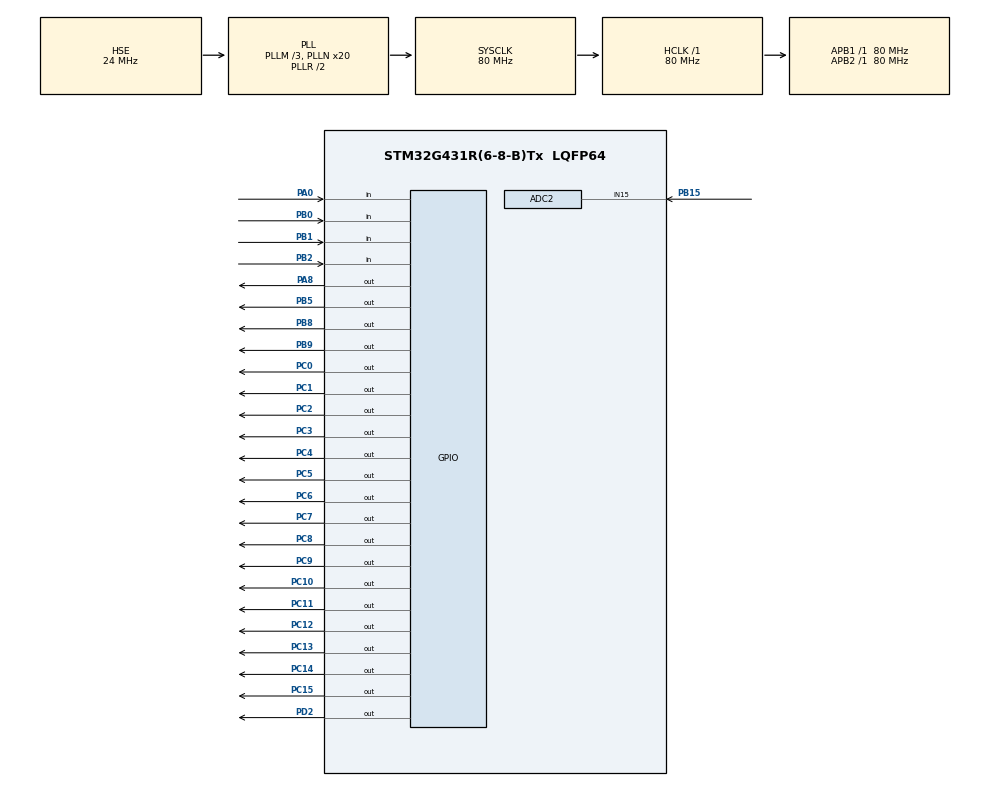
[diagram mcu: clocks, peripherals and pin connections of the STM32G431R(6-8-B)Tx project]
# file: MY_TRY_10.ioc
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ADC2.Channel-0\#ChannelRegularConversion=ADC_CHANNEL_15
ADC2.NbrOfConversionFlag=1
ADC2.OffsetNumber-0\#ChannelRegularConversion=ADC_OFFSET_NONE
ADC2.Rank-0\#ChannelRegularConversion=1
ADC2.SamplingTime-0\#ChannelRegularConversion=ADC_SAMPLETIME_2CYCLES_5
Mcu.Family=STM32G4
Mcu.Name=STM32G431R(6-8-B)Tx
Mcu.Package=LQFP64
NVIC.PriorityGroup=NVIC_PRIORITYGROUP_4
NVIC.TIM3_IRQn=true\:0\:0\:false\:false\:true\:true\:true
PA0.GPIO_Mode=GPIO_MODE_INPUT
PA0.GPIO_PuPd=GPIO_PULLUP
PA0.Signal=GPIO_Input
PA13.Mode=Serial_Wire
PA13.Signal=SYS_JTMS-SWDIO
PA14.Mode=Serial_Wire
PA14.Signal=SYS_JTCK-SWCLK
PA8.Signal=GPIO_Output
PB0.GPIO_Mode=GPIO_MODE_INPUT
PB0.GPIO_PuPd=GPIO_PULLUP
PB0.Signal=GPIO_Input
PB1.GPIO_Mode=GPIO_MODE_INPUT
PB1.GPIO_PuPd=GPIO_PULLUP
PB1.Signal=GPIO_Input
PB15.Mode=IN15-Single-Ended
PB15.Signal=ADC2_IN15
PB2.GPIO_Mode=GPIO_MODE_INPUT
PB2.GPIO_PuPd=GPIO_PULLUP
PB2.Signal=GPIO_Input
PB5.Signal=GPIO_Output
PB8-BOOT0.Signal=GPIO_Output
PB9.Signal=GPIO_Output
PC0.Signal=GPIO_Output
PC1.Signal=GPIO_Output
PC10.Signal=GPIO_Output
PC11.Signal=GPIO_Output
PC12.Signal=GPIO_Output
PC13.Signal=GPIO_Output
PC14-OSC32_IN.Signal=GPIO_Output
PC15-OSC32_OUT.Signal=GPIO_Output
PC2.Signal=GPIO_Output
PC3.Signal=GPIO_Output
PC4.Signal=GPIO_Output
PC5.Signal=GPIO_Output
PC6.Signal=GPIO_Output
PC7.Signal=GPIO_Output
PC8.Signal=GPIO_Output
PC9.Signal=GPIO_Output
PD2.Signal=GPIO_Output
PF0-OSC_IN.Mode=HSE-External-Oscillator
PF0-OSC_IN.Signal=RCC_OSC_IN
PF1-OSC_OUT.Mode=HSE-External-Oscillator
PF1-OSC_OUT.Signal=RCC_OSC_OUT
ProjectManager.HeapSize=0x200
ProjectManager.StackSize=0x400
ProjectManager.TargetToolchain=MDK-ARM V5
RCC.ADC12Freq_Value=80000000
RCC.AHBFreq_Value=80000000
RCC.APB1Freq_Value=80000000
RCC.APB1TimFreq_Value=80000000
RCC.APB2Freq_Value=80000000
RCC.APB2TimFreq_Value=80000000
RCC.CortexFreq_Value=80000000
RCC.EXTERNAL_CLOCK_VALUE=12288000
RCC.HCLKFreq_Value=80000000
RCC.HSE_VALUE=24000000
RCC.HSI48_VALUE=48000000
RCC.HSI_VALUE=16000000
RCC.LSE_VALUE=32768
RCC.PLLM=RCC_PLLM_DIV3
RCC.PLLN=20
RCC.PLLSourceVirtual=RCC_PLLSOURCE_HSE
RCC.SYSCLKFreq_VALUE=80000000
RCC.SYSCLKSource=RCC_SYSCLKSOURCE_PLLCLK
RCC.USBFreq_Value=80000000
RCC.VCOOutputFreq_Value=160000000
TIM3.PeriodNoDither=100-1
TIM3.Prescaler=8000-1
VP_SYS_VS_DBSignals.Mode=DisableDeadBatterySignals
VP_TIM3_VS_ClockSourceINT.Mode=Internal
board=custom

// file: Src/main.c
/* USER CODE BEGIN Header */
/**
  ******************************************************************************
  * @file           : main.c
  * @brief          : Main program body
  ******************************************************************************
  * @attention
  *
  * <h2><center>&copy; Copyright (c) 2023 STMicroelectronics.
  * All rights reserved.</center></h2>
  *
  * This software component is licensed by ST under BSD 3-Clause license,
  * the "License"; You may not use this file except in compliance with the
  * License. You may obtain a copy of the License at:
  *                        opensource.org/licenses/BSD-3-Clause
  *
  ******************************************************************************
  */
/* USER CODE END Header */

#include "main.h"
#include "adc.h"
#include "tim.h"
#include "gpio.h"

/* USER CODE BEGIN Includes */
#include "lcd.h"
#include "led.h"
#include "key.h"
#include "M_adc.h"
#include "stdio.h"

/* USER CODE END Includes */

/* USER CODE BEGIN PV */
// 变量定义
extern struct keys key[4];
unsigned int page=0,line=0,LLED=0,ULED=1,Volt=0,time=0;
char text[30];
double MAX_V = 2.3,MIN_V = 1.0;

/* USER CODE END PV */

void SystemClock_Config(void);
/* USER CODE BEGIN PFP */
// 函数定义
void KEY_Proc(void);
void LCD_Proc(void);

/* USER CODE END PFP */

int main(void)
{

  /* MCU Configuration--------------------------------------------------------*/

  /* Reset of all peripherals, Initializes the Flash interface and the Systick. */
  HAL_Init();

  /* Configure the system clock */
  SystemClock_Config();

  /* Initialize all configured peripherals */
  MX_GPIO_Init();
  MX_TIM3_Init();
  MX_ADC2_Init();
  /* USER CODE BEGIN 2 */
	LCD_Init();
	HAL_TIM_Base_Start_IT(&htim3);

	LCD_Clear(White);
	LCD_SetBackColor(White);
	LCD_SetTextColor(Blue2);

	LED_Proc(0x00);
  /* USER CODE END 2 */

  /* Infinite loop */
  /* USER CODE BEGIN WHILE */
  while (1)
  {
		KEY_Proc();
		LCD_Proc();
    /* USER CODE END WHILE */

  }
}

void SystemClock_Config(void)
{
  RCC_OscInitTypeDef RCC_OscInitStruct = {0};
  RCC_ClkInitTypeDef RCC_ClkInitStruct = {0};
  RCC_PeriphCLKInitTypeDef PeriphClkInit = {0};

  /** Configure the main internal regulator output voltage
  */
  HAL_PWREx_ControlVoltageScaling(PWR_REGULATOR_VOLTAGE_SCALE1);
  /** Initializes the CPU, AHB and APB busses clocks
  */
  RCC_OscInitStruct.OscillatorType = RCC_OSCILLATORTYPE_HSE;
  RCC_OscInitStruct.HSEState = RCC_HSE_ON;
  RCC_OscInitStruct.PLL.PLLState = RCC_PLL_ON;
  RCC_OscInitStruct.PLL.PLLSource = RCC_PLLSOURCE_HSE;
  RCC_OscInitStruct.PLL.PLLM = RCC_PLLM_DIV3;
  RCC_OscInitStruct.PLL.PLLN = 20;
  RCC_OscInitStruct.PLL.PLLP = RCC_PLLP_DIV2;
  RCC_OscInitStruct.PLL.PLLQ = RCC_PLLQ_DIV2;
  RCC_OscInitStruct.PLL.PLLR = RCC_PLLR_DIV2;
  if (HAL_RCC_OscConfig(&RCC_OscInitStruct) != HAL_OK)
  {
    Error_Handler();
  }
  /** Initializes the CPU, AHB and APB busses clocks
  */
  RCC_ClkInitStruct.ClockType = RCC_CLOCKTYPE_HCLK|RCC_CLOCKTYPE_SYSCLK
                              |RCC_CLOCKTYPE_PCLK1|RCC_CLOCKTYPE_PCLK2;
  RCC_ClkInitStruct.SYSCLKSource = RCC_SYSCLKSOURCE_PLLCLK;
  RCC_ClkInitStruct.AHBCLKDivider = RCC_SYSCLK_DIV1;
  RCC_ClkInitStruct.APB1CLKDivider = RCC_HCLK_DIV1;
  RCC_ClkInitStruct.APB2CLKDivider = RCC_HCLK_DIV1;

  if (HAL_RCC_ClockConfig(&RCC_ClkInitStruct, FLASH_LATENCY_3) != HAL_OK)
  {
    Error_Handler();
  }
  /** Initializes the peripherals clocks
  */
  PeriphClkInit.PeriphClockSelection = RCC_PERIPHCLK_ADC12;
  PeriphClkInit.Adc12ClockSelection = RCC_ADC12CLKSOURCE_SYSCLK;
  if (HAL_RCCEx_PeriphCLKConfig(&PeriphClkInit) != HAL_OK)
  {
    Error_Handler();
  }
}

/* USER CODE BEGIN 4 */
void KEY_Proc(void)
{
/*******************************************页面切换*******************************************/
	if(key[0].single_sta == 1 && key[0].key_sta == 1)
	{
		page = 1-page;
		key[0].single_sta = 0;
	}
/*******************************************选定行切换*******************************************/
	if(key[1].single_sta == 1 && key[1].key_sta == 1)
	{
		if(page == 1) line = (line+1)>3?0:(line+1);
		key[1].single_sta = 0;
	}
/*******************************************增加*******************************************/
	if(key[2].single_sta == 1 && key[2].key_sta == 1)
	{
		if(page == 1)
		{
			if(line == 0)
			{
				MAX_V = (MAX_V+0.3)>3.3?3.3:(MAX_V+0.3);
			}
			else if(line == 1)
			{
				MIN_V = ((MIN_V+0.3)>3.3 || (MIN_V+0.3)>MAX_V)?MIN_V:(MIN_V+0.3);
			}
			else if(line == 2)
			{
				ULED = (ULED+1)>7?0:(ULED+1);
				ULED = (ULED == LLED)?ULED+1:ULED;
				ULED = ULED>7?0:ULED;
			}
			else
			{
				LLED = (LLED+1)>7?0:(LLED+1);
				LLED = (LLED == ULED)?LLED+1:LLED;
				LLED = LLED>7?0:LLED;
			}
		}
		key[2].single_sta = 0;
	}
/*******************************************减小*******************************************/
	if(key[3].single_sta == 1 && key[3].key_sta == 1)
	{
		if(page == 1)
		{
			if(line == 0)
			{
				MAX_V = ((MAX_V-0.3)<0 || (MAX_V-0.3)<MIN_V)?MAX_V:(MAX_V-0.3);
			}
			else if(line == 1)
			{
				MIN_V = (MIN_V-0.3)<0?0:(MIN_V-0.3);
			}
			else if(line == 2)
			{
				ULED = (ULED == 0)?7:(ULED-1);
				ULED = (ULED == LLED)?(ULED == 0?7:(ULED-1)):ULED;
			}
			else
			{
				LLED = (LLED == 0)?7:(LLED-1);
				LLED = (LLED == ULED)?(LLED == 0?7:(LLED-1)):LLED;
			}
		}
		key[3].single_sta = 0;
	}
}

void LCD_Proc(void)
{
	double adc = GetADC(&hadc2);
	if(page ==0)
	{
		LCD_DisplayStringLine(Line2,(unsigned char *)"        Main          ");

		sprintf(text,"    Volt:%.2f         ",adc);
		LCD_DisplayStringLine(Line4,(unsigned char *)text);

		if(MAX_V < adc) LCD_DisplayStringLine(Line5,(unsigned char *)"    Status:Upper      ");
		else if(MIN_V > adc) LCD_DisplayStringLine(Line5,(unsigned char *)"    Status:Lower      ");
		else LCD_DisplayStringLine(Line5,(unsigned char *)"    Status:Normal      ");

		LCD_DisplayStringLine(Line6,(unsigned char *)"                      ");
		LCD_DisplayStringLine(Line7,(unsigned char *)"                      ");
	}
	else
	{
		LCD_DisplayStringLine(Line2,(unsigned char *)"       Setting         ");

		if(line == 0) LCD_SetBackColor(Green);
		sprintf(text,"    Max Volt:%.1fV      ",MAX_V);
		LCD_DisplayStringLine(Line4,(unsigned char *)text);
		LCD_SetBackColor(White);

		if(line == 1) LCD_SetBackColor(Green);
		sprintf(text,"    Min Volt:%.1fV      ",MIN_V);
		LCD_DisplayStringLine(Line5,(unsigned char *)text);
		LCD_SetBackColor(White);

		if(line == 2) LCD_SetBackColor(Green);
		sprintf(text,"    Upper:LD%d          ",ULED+1);
		LCD_DisplayStringLine(Line6,(unsigned char *)text);
		LCD_SetBackColor(White);

		if(line == 3) LCD_SetBackColor(Green);
		sprintf(text,"    Lower:LD%d          ",LLED+1);
		LCD_DisplayStringLine(Line7,(unsigned char *)text);
		LCD_SetBackColor(White);
	}
	if(MAX_V < adc) Volt = 0;
	else if(MIN_V > adc) Volt = 1;
	else  Volt = 2;
}
/* USER CODE END 4 */

void Error_Handler(void)
{
}

/************************ (C) COPYRIGHT STMicroelectronics *****END OF FILE****/
